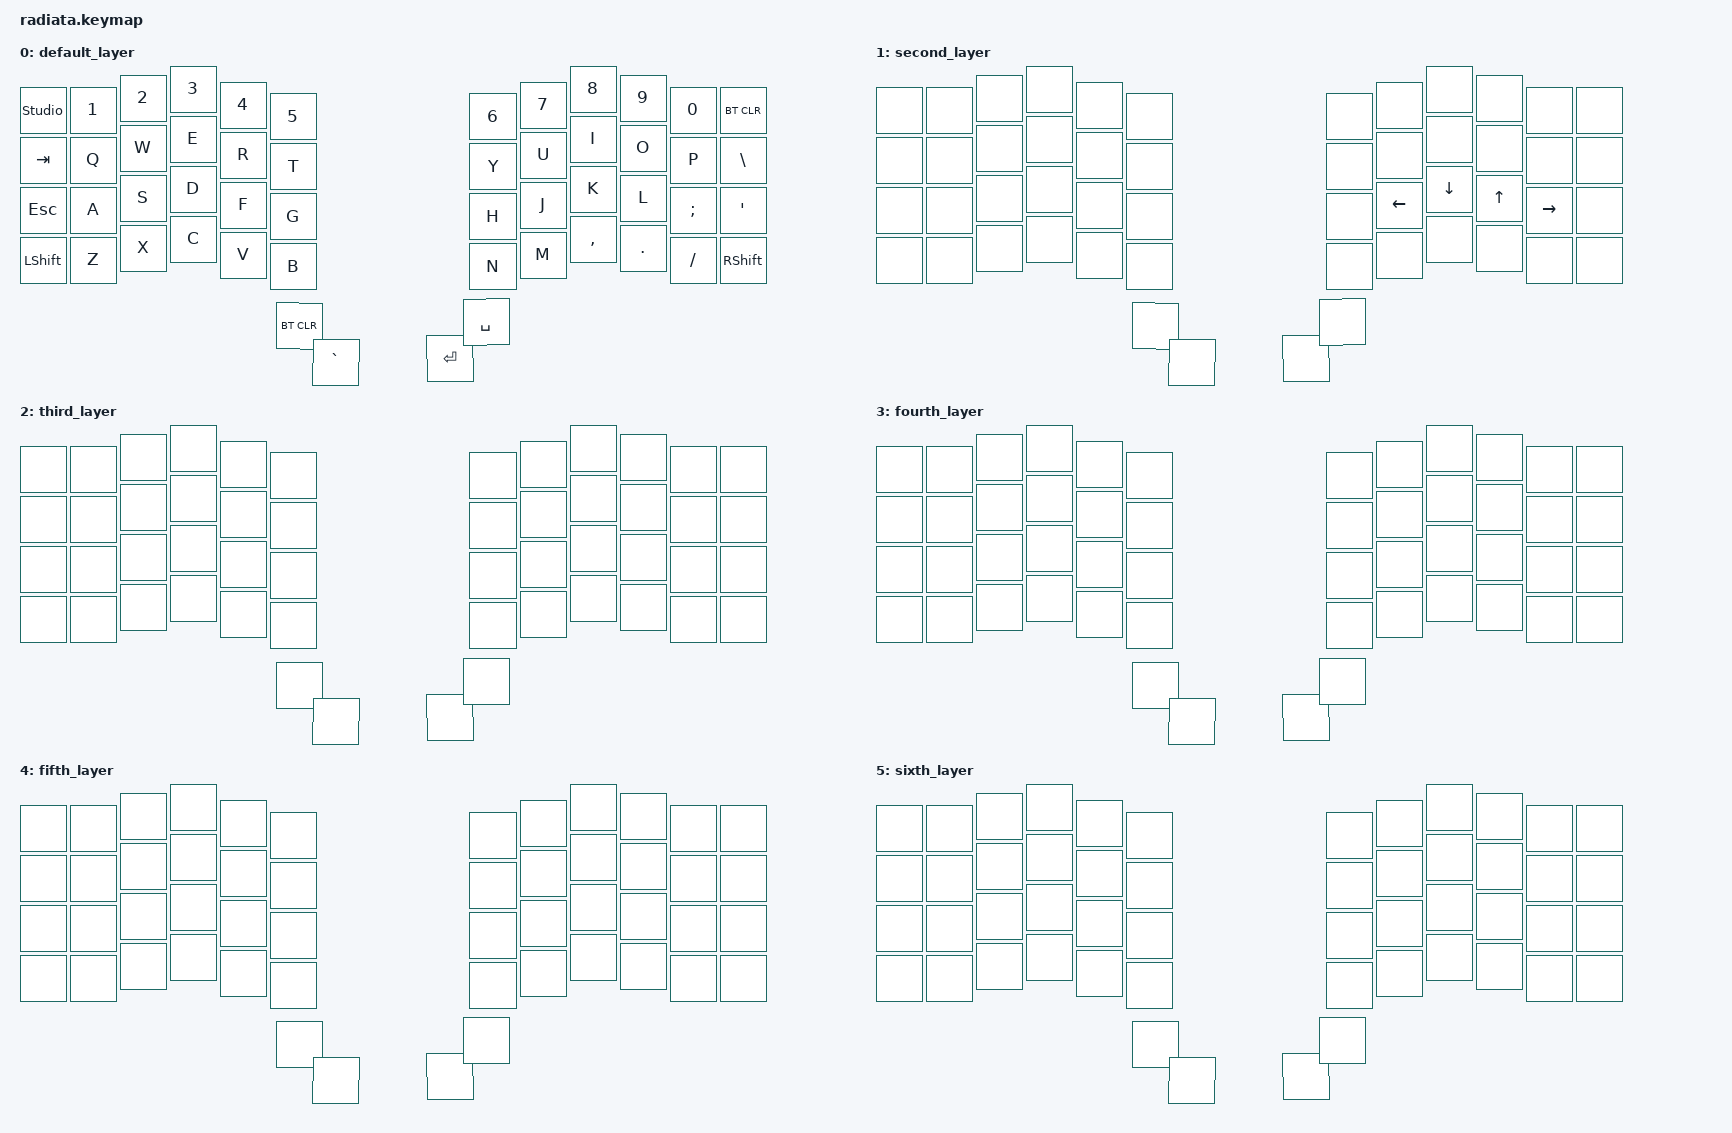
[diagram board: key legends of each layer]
#include <behaviors.dtsi>
#include <dt-bindings/zmk/keys.h>
#include <dt-bindings/zmk/bt.h>
#include <dt-bindings/zmk/rgb.h>
#include <dt-bindings/zmk/backlight.h>

/ {
    keymap {
        compatible = "zmk,keymap";

        default_layer {
            bindings = <
                &studio_unlock   &kp N1      &kp N2      &kp N3      &kp N4      &kp N5      &kp N6      &kp N7      &kp N8      &kp N9      &kp N0      &bt BT_CLR
                &kp TAB     &kp Q       &kp W       &kp E       &kp R       &kp T       &kp Y       &kp U       &kp I       &kp O       &kp P       &kp BSLH
                &kp ESC     &kp A       &kp S       &kp D       &kp F       &kp G       &kp H       &kp J       &kp K       &kp L       &kp SEMI    &kp SQT
                &kp LSHFT   &kp Z       &kp X       &kp C       &kp V       &kp B       &kp N       &kp M       &kp COMMA   &kp DOT     &kp FSLH    &kp RSHFT
                                                                &bt BT_CLR  &kp GRAVE   &kp ENTER   &kp SPACE
            >;
        };
        second_layer {
            bindings = <
                &none      &none      &none      &none      &none      &none      &none      &none      &none      &none      &none      &none
                &none      &none      &none      &none      &none      &none      &none      &none      &none      &none      &none      &none
                &none      &none      &none      &none      &none      &none      &none      &kp LEFT    &kp DOWN    &kp UP      &kp RIGHT   &none
                &none      &none      &none      &none      &none      &none      &none      &none      &none      &none      &none      &none
                                                                &none      &none      &none      &none
            >;
        };
        third_layer {
            bindings = <
                &none      &none      &none      &none      &none      &none      &none      &none      &none      &none      &none      &none
                &none      &none      &none      &none      &none      &none      &none      &none      &none      &none      &none      &none
                &none      &none      &none      &none      &none      &none      &none      &none      &none      &none      &none      &none
                &none      &none      &none      &none      &none      &none      &none      &none      &none      &none      &none      &none
                                                                &none      &none      &none      &none
            >;
        };
        fourth_layer {
            bindings = <
                &none      &none      &none      &none      &none      &none      &none      &none      &none      &none      &none      &none
                &none      &none      &none      &none      &none      &none      &none      &none      &none      &none      &none      &none
                &none      &none      &none      &none      &none      &none      &none      &none      &none      &none      &none      &none
                &none      &none      &none      &none      &none      &none      &none      &none      &none      &none      &none      &none
                                                                &none      &none      &none      &none
            >;
        };
        fifth_layer {
            bindings = <
                &none      &none      &none      &none      &none      &none      &none      &none      &none      &none      &none      &none
                &none      &none      &none      &none      &none      &none      &none      &none      &none      &none      &none      &none
                &none      &none      &none      &none      &none      &none      &none      &none      &none      &none      &none      &none
                &none      &none      &none      &none      &none      &none      &none      &none      &none      &none      &none      &none
                                                                &none      &none      &none      &none
            >;
        };
        sixth_layer {
            bindings = <
                &none      &none      &none      &none      &none      &none      &none      &none      &none      &none      &none      &none
                &none      &none      &none      &none      &none      &none      &none      &none      &none      &none      &none      &none
                &none      &none      &none      &none      &none      &none      &none      &none      &none      &none      &none      &none
                &none      &none      &none      &none      &none      &none      &none      &none      &none      &none      &none      &none
                                                                &none      &none      &none      &none
            >;
        };
    };
};
